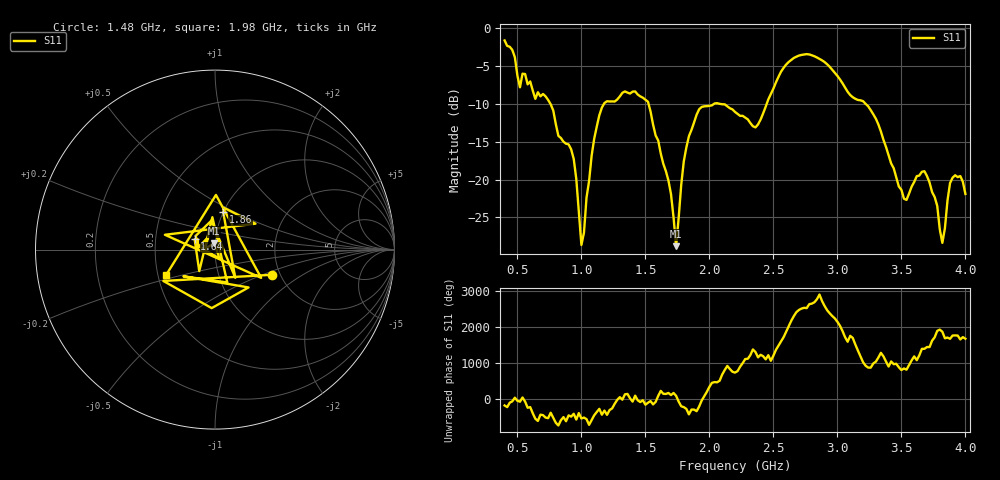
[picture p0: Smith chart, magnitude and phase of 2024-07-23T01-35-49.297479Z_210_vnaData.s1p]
!Created with skrf (http://scikit-rf.org).
# Hz S RI R 50.0
!freq ReS11 ImS11
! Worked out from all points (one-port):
!   181 points, 400 MHz to 4 GHz, reference 50 ohm
!   lowest |S11| = -28.8 dB at 1.74 GHz (marker M1), VSWR 1.08, Z = 49.5 + j3.58 ohm
!   |S11| at or under -10 dB: 757.8 MHz to 1.176 GHz (418.7 MHz wide, 43.3 % of centre); 1.524 GHz to 2.036 GHz (512 MHz wide, 28.8 % of centre); 3.22 GHz to end of sweep (the widest 3 of 4)
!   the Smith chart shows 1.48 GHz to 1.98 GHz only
!   S11 on the Smith chart (normalised r, x): 1.48 GHz: 1.81, -0.58; 1.64 GHz: 0.79, +0.09; 1.86 GHz: 1.00, +0.44; 1.98 GHz: 0.55, -0.17
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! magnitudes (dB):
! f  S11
! 400 MHz  -1.6
! 520 MHz  -7.8
! 720 MHz  -9.0
! 860 MHz  -15.0
! 940 MHz  -17.3
! 1 GHz  -28.6
! 1.14 GHz  -11.5
! 1.3 GHz  -9.0
! 1.48 GHz  -9.2
! 1.64 GHz  -17.9
! 1.7 GHz  -21.9
! 1.74 GHz  -28.8
! 1.76 GHz  -25.0
! 1.8 GHz  -17.6
! 1.86 GHz  -13.4
! 1.98 GHz  -10.3
! 2.2 GHz  -11.1
! 2.36 GHz  -13.1
! 2.66 GHz  -3.9
! 3.1 GHz  -8.8
! 3.28 GHz  -11.4
! 3.52 GHz  -22.5
! 3.56 GHz  -21.8
! 3.68 GHz  -18.9
! 3.78 GHz  -23.5
! 3.82 GHz  -28.4
! 3.88 GHz  -20.5
! 4 GHz  -21.9
